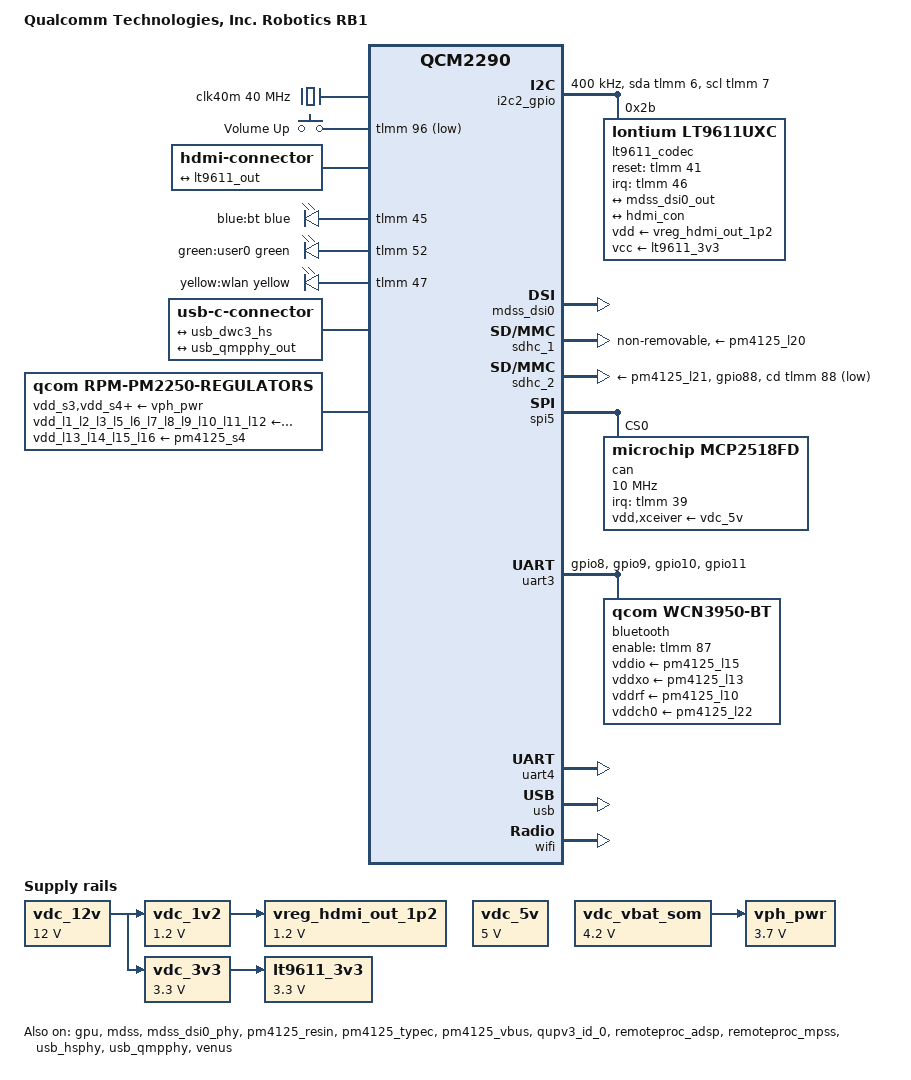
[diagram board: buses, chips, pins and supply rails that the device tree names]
// SPDX-License-Identifier: (GPL-2.0+ OR BSD-3-Clause)
/*
 * Copyright (c) 2023, Linaro Ltd
 */

/dts-v1/;

#include <dt-bindings/gpio/gpio.h>
#include <dt-bindings/leds/common.h>
#include "qcm2290.dtsi"
#include "pm4125.dtsi"

/ {
	model = "Qualcomm Technologies, Inc. Robotics RB1";
	compatible = "qcom,qrb2210-rb1", "qcom,qrb2210", "qcom,qcm2290";

	aliases {
		serial0 = &uart4;
		serial1 = &uart3;
		sdhc1 = &sdhc_1;
		sdhc2 = &sdhc_2;
	};

	chosen {
		stdout-path = "serial0:115200n8";
	};

	clocks {
		clk40m: can-clk {
			compatible = "fixed-clock";
			clock-frequency = <40000000>;
			#clock-cells = <0>;
		};
	};

	gpio-keys {
		compatible = "gpio-keys";
		label = "gpio-keys";

		pinctrl-0 = <&key_volp_n>;
		pinctrl-names = "default";

		key-volume-up {
			label = "Volume Up";
			linux,code = <KEY_VOLUMEUP>;
			gpios = <&tlmm 96 GPIO_ACTIVE_LOW>;
			debounce-interval = <15>;
			linux,can-disable;
			wakeup-source;
		};
	};

	hdmi-connector {
		compatible = "hdmi-connector";
		type = "a";

		port {
			hdmi_con: endpoint {
				remote-endpoint = <&lt9611_out>;
			};
		};
	};

	i2c2_gpio: i2c {
		compatible = "i2c-gpio";

		sda-gpios = <&tlmm 6 (GPIO_ACTIVE_HIGH | GPIO_OPEN_DRAIN)>;
		scl-gpios = <&tlmm 7 (GPIO_ACTIVE_HIGH | GPIO_OPEN_DRAIN)>;
		#address-cells = <1>;
		#size-cells = <0>;

		status = "disabled";
	};

	leds {
		compatible = "gpio-leds";

		led-bt {
			label = "blue:bt";
			function = LED_FUNCTION_BLUETOOTH;
			color = <LED_COLOR_ID_BLUE>;
			gpios = <&tlmm 45 GPIO_ACTIVE_HIGH>;
			linux,default-trigger = "bluetooth-power";
			default-state = "off";
		};

		led-user0 {
			label = "green:user0";
			function = LED_FUNCTION_INDICATOR;
			color = <LED_COLOR_ID_GREEN>;
			gpios = <&tlmm 52 GPIO_ACTIVE_HIGH>;
			linux,default-trigger = "none";
			default-state = "off";
			panic-indicator;
		};

		led-wlan {
			label = "yellow:wlan";
			function = LED_FUNCTION_WLAN;
			color = <LED_COLOR_ID_YELLOW>;
			gpios = <&tlmm 47 GPIO_ACTIVE_HIGH>;
			linux,default-trigger = "phy0tx";
			default-state = "off";
		};
	};

	vreg_hdmi_out_1p2: regulator-hdmi-out-1p2 {
		compatible = "regulator-fixed";
		regulator-name = "VREG_HDMI_OUT_1P2";
		regulator-min-microvolt = <1200000>;
		regulator-max-microvolt = <1200000>;
		vin-supply = <&vdc_1v2>;
		regulator-always-on;
		regulator-boot-on;
	};

	lt9611_3v3: regulator-lt9611-3v3 {
		compatible = "regulator-fixed";
		regulator-name = "LT9611_3V3";
		regulator-min-microvolt = <3300000>;
		regulator-max-microvolt = <3300000>;
		vin-supply = <&vdc_3v3>;
		regulator-always-on;
		regulator-boot-on;
	};

	/* Main barrel jack input */
	vdc_12v: regulator-vdc-12v {
		compatible = "regulator-fixed";
		regulator-name = "DC_12V";
		regulator-min-microvolt = <12000000>;
		regulator-max-microvolt = <12000000>;
		regulator-always-on;
		regulator-boot-on;
	};

	/* 1.2V supply stepped down from the barrel jack input */
	vdc_1v2: regulator-vdc-1v2 {
		compatible = "regulator-fixed";
		regulator-name = "VDC_1V2";
		regulator-min-microvolt = <1200000>;
		regulator-max-microvolt = <1200000>;
		vin-supply = <&vdc_12v>;
		regulator-always-on;
		regulator-boot-on;
	};

	/* 3.3V supply stepped down from the barrel jack input */
	vdc_3v3: regulator-vdc-3v3 {
		compatible = "regulator-fixed";
		regulator-name = "VDC_3V3";
		regulator-min-microvolt = <3300000>;
		regulator-max-microvolt = <3300000>;
		vin-supply = <&vdc_12v>;
		regulator-always-on;
		regulator-boot-on;
	};

	/* 5V supply stepped down from the barrel jack input */
	vdc_5v: regulator-vdc-5v {
		compatible = "regulator-fixed";
		regulator-name = "VDC_5V";

		regulator-min-microvolt = <5000000>;
		regulator-max-microvolt = <5000000>;
		regulator-always-on;
		regulator-boot-on;
	};

	/* "Battery" voltage for the SoM, stepped down from the barrel jack input */
	vdc_vbat_som: regulator-vdc-vbat {
		compatible = "regulator-fixed";
		regulator-name = "VBAT_SOM";
		regulator-min-microvolt = <4200000>;
		regulator-max-microvolt = <4200000>;
		regulator-always-on;
		regulator-boot-on;
	};

	/* PM2250 charger out, supplied by VBAT */
	vph_pwr: regulator-vph-pwr {
		compatible = "regulator-fixed";
		regulator-name = "vph_pwr";
		regulator-min-microvolt = <3700000>;
		regulator-max-microvolt = <3700000>;
		vin-supply = <&vdc_vbat_som>;

		regulator-always-on;
		regulator-boot-on;
	};
};

&cpu_pd0 {
	/delete-property/ power-domains;
};

&cpu_pd1 {
	/delete-property/ power-domains;
};

&cpu_pd2 {
	/delete-property/ power-domains;
};

&cpu_pd3 {
	/delete-property/ power-domains;
};

/delete-node/ &cluster_pd;

&gpi_dma0 {
	status = "okay";
};

&gpu {
	status = "okay";

	zap-shader {
		firmware-name = "qcom/qcm2290/a702_zap.mbn";
	};
};

&i2c2_gpio {
	clock-frequency = <400000>;
	status = "okay";

	lt9611_codec: hdmi-bridge@2b {
		compatible = "lontium,lt9611uxc";
		reg = <0x2b>;
		interrupts-extended = <&tlmm 46 IRQ_TYPE_EDGE_FALLING>;
		reset-gpios = <&tlmm 41 GPIO_ACTIVE_HIGH>;

		vdd-supply = <&vreg_hdmi_out_1p2>;
		vcc-supply = <&lt9611_3v3>;

		pinctrl-0 = <&lt9611_irq_pin &lt9611_rst_pin>;
		pinctrl-names = "default";
		#sound-dai-cells = <1>;

		ports {
			#address-cells = <1>;
			#size-cells = <0>;

			port@0 {
				reg = <0>;

				lt9611_a: endpoint {
					remote-endpoint = <&mdss_dsi0_out>;
				};
			};

			port@2 {
				reg = <2>;

				lt9611_out: endpoint {
					remote-endpoint = <&hdmi_con>;
				};
			};
		};
	};
};

&mdss {
	status = "okay";
};

&mdss_dsi0 {
	vdda-supply = <&pm4125_l5>;
	status = "okay";
};

&mdss_dsi0_out {
	remote-endpoint = <&lt9611_a>;
	data-lanes = <0 1 2 3>;
};

&mdss_dsi0_phy {
	status = "okay";
};

&pm4125_resin {
	linux,code = <KEY_VOLUMEDOWN>;
	status = "okay";
};

&pm4125_typec {
	status = "okay";

	connector {
		compatible = "usb-c-connector";

		power-role = "dual";
		data-role = "dual";
		self-powered;

		typec-power-opmode = "default";
		pd-disable;

		ports {
			#address-cells = <1>;
			#size-cells = <0>;

			port@0 {
				reg = <0>;
				pm4125_hs_in: endpoint {
					remote-endpoint = <&usb_dwc3_hs>;
				};
			};

			port@1 {
				reg = <1>;
				pm4125_ss_in: endpoint {
					remote-endpoint = <&usb_qmpphy_out>;
				};
			};
		};
	};
};

&pm4125_vbus {
	regulator-min-microamp = <500000>;
	regulator-max-microamp = <500000>;
	status = "okay";
};

&qupv3_id_0 {
	status = "okay";
};

&remoteproc_adsp {
	firmware-name = "qcom/qcm2290/adsp.mbn";
	status = "okay";
};

&remoteproc_mpss {
	firmware-name = "qcom/qcm2290/modem.mbn";
	status = "okay";
};

&rpm_requests {
	regulators {
		compatible = "qcom,rpm-pm2250-regulators";
		vdd_s3-supply = <&vph_pwr>;
		vdd_s4-supply = <&vph_pwr>;
		vdd_l1_l2_l3_l5_l6_l7_l8_l9_l10_l11_l12-supply = <&pm4125_s3>;
		vdd_l4_l17_l18_l19_l20_l21_l22-supply = <&vph_pwr>;
		vdd_l13_l14_l15_l16-supply = <&pm4125_s4>;

		/*
		 * S1 - VDD_APC
		 * S2 - VDD_CX
		 */

		pm4125_s3: s3 {
			/* 0.4V-1.6625V -> 1.3V (Power tree requirements) */
			regulator-min-microvolt = <1352000>;
			regulator-max-microvolt = <1352000>;
			regulator-boot-on;
		};

		pm4125_s4: s4 {
			/* 1.2V-2.35V -> 2.05V (Power tree requirements) */
			regulator-min-microvolt = <2072000>;
			regulator-max-microvolt = <2072000>;
			regulator-boot-on;
		};

		/* L1 - VDD_MX */

		pm4125_l2: l2 {
			/* LPDDR4X VDD2 */
			regulator-min-microvolt = <1136000>;
			regulator-max-microvolt = <1136000>;
			regulator-always-on;
			regulator-boot-on;
		};

		pm4125_l3: l3 {
			/* LPDDR4X VDDQ */
			regulator-min-microvolt = <616000>;
			regulator-max-microvolt = <616000>;
			regulator-always-on;
			regulator-boot-on;
		};

		pm4125_l4: l4 {
			/* max = 3.05V -> max = 2.7 to disable 3V signaling (SDHCI2) */
			regulator-min-microvolt = <1800000>;
			regulator-max-microvolt = <2700000>;
			regulator-allow-set-load;
		};

		pm4125_l5: l5 {
			/* CSI/DSI */
			regulator-min-microvolt = <1232000>;
			regulator-max-microvolt = <1232000>;
			regulator-allow-set-load;
			regulator-boot-on;
		};

		pm4125_l6: l6 {
			/* DRAM PLL */
			regulator-min-microvolt = <928000>;
			regulator-max-microvolt = <928000>;
			regulator-always-on;
			regulator-boot-on;
		};

		pm4125_l7: l7 {
			/* Wi-Fi CX/MX */
			regulator-min-microvolt = <664000>;
			regulator-max-microvolt = <664000>;
		};

		/*
		 * L8 - VDD_LPI_CX
		 * L9 - VDD_LPI_MX
		 */

		pm4125_l10: l10 {
			/* Wi-Fi RFA */
			regulator-min-microvolt = <1304000>;
			regulator-max-microvolt = <1304000>;
		};

		pm4125_l11: l11 {
			/* GPS RF1 */
			regulator-min-microvolt = <1000000>;
			regulator-max-microvolt = <1000000>;
			regulator-boot-on;
		};

		pm4125_l12: l12 {
			/* USB PHYs */
			regulator-min-microvolt = <928000>;
			regulator-max-microvolt = <928000>;
			regulator-allow-set-load;
			regulator-boot-on;
		};

		pm4125_l13: l13 {
			/* USB/QFPROM/PLLs */
			regulator-min-microvolt = <1800000>;
			regulator-max-microvolt = <1800000>;
			regulator-allow-set-load;
			regulator-boot-on;
		};

		pm4125_l14: l14 {
			/* SDHCI1 VQMMC */
			regulator-min-microvolt = <1800000>;
			regulator-max-microvolt = <1800000>;
			regulator-allow-set-load;
			/* Broken hardware, never turn it off! */
			regulator-always-on;
		};

		pm4125_l15: l15 {
			/* WCD/DSI/BT VDDIO */
			regulator-min-microvolt = <1800000>;
			regulator-max-microvolt = <1800000>;
			regulator-allow-set-load;
			regulator-always-on;
			regulator-boot-on;
		};

		pm4125_l16: l16 {
			/* GPS RF2 */
			regulator-min-microvolt = <1800000>;
			regulator-max-microvolt = <1800000>;
			regulator-boot-on;
		};

		pm4125_l17: l17 {
			regulator-min-microvolt = <3000000>;
			regulator-max-microvolt = <3000000>;
		};

		pm4125_l18: l18 {
			/* VDD_PXn */
			regulator-min-microvolt = <1800000>;
			regulator-max-microvolt = <1800000>;
		};

		pm4125_l19: l19 {
			/* VDD_PXn */
			regulator-min-microvolt = <1800000>;
			regulator-max-microvolt = <1800000>;
		};

		pm4125_l20: l20 {
			/* SDHCI1 VMMC */
			regulator-min-microvolt = <2400000>;
			regulator-max-microvolt = <3600000>;
			regulator-allow-set-load;
		};

		pm4125_l21: l21 {
			/* SDHCI2 VMMC */
			regulator-min-microvolt = <2960000>;
			regulator-max-microvolt = <3300000>;
			regulator-allow-set-load;
			regulator-boot-on;
		};

		pm4125_l22: l22 {
			/* Wi-Fi */
			regulator-min-microvolt = <3312000>;
			regulator-max-microvolt = <3312000>;
		};
	};
};

&sdhc_1 {
	vmmc-supply = <&pm4125_l20>;
	vqmmc-supply = <&pm4125_l14>;
	pinctrl-0 = <&sdc1_state_on>;
	pinctrl-1 = <&sdc1_state_off>;
	pinctrl-names = "default", "sleep";
	non-removable;
	supports-cqe;
	no-sdio;
	no-sd;
	status = "okay";
};

&sdhc_2 {
	vmmc-supply = <&pm4125_l21>;
	vqmmc-supply = <&pm4125_l4>;
	cd-gpios = <&tlmm 88 GPIO_ACTIVE_LOW>;
	pinctrl-0 = <&sdc2_state_on &sd_det_in_on>;
	pinctrl-1 = <&sdc2_state_off &sd_det_in_off>;
	pinctrl-names = "default", "sleep";
	no-sdio;
	no-mmc;
	status = "okay";
};

&spi5 {
	status = "okay";

	can@0 {
		compatible = "microchip,mcp2518fd";
		reg = <0>;
		interrupts-extended = <&tlmm 39 IRQ_TYPE_LEVEL_LOW>;
		clocks = <&clk40m>;
		spi-max-frequency = <10000000>;
		vdd-supply = <&vdc_5v>;
		xceiver-supply = <&vdc_5v>;
	};
};

&tlmm {
	uart3_default: uart3-default-state {
		cts-pins {
			pins = "gpio8";
			function = "qup3";
			drive-strength = <2>;
			bias-bus-hold;
		};

		rts-pins {
			pins = "gpio9";
			function = "qup3";
			drive-strength = <2>;
			bias-disable;
		};

		tx-pins {
			pins = "gpio10";
			function = "qup3";
			drive-strength = <2>;
			bias-disable;
		};

		rx-pins {
			pins = "gpio11";
			function = "qup3";
			drive-strength = <2>;
			bias-pull-up;
		};
	};

	uart3_sleep: uart3-sleep-state {
		cts-pins {
			pins = "gpio8";
			function = "gpio";
			drive-strength = <2>;
			bias-bus-hold;
		};

		rts-pins {
			pins = "gpio9";
			function = "gpio";
			drive-strength = <2>;
			bias-pull-down;
		};

		tx-pins {
			pins = "gpio10";
			function = "gpio";
			drive-strength = <2>;
			bias-pull-up;
		};

		rx-pins {
			pins = "gpio11";
			function = "gpio";
			drive-strength = <2>;
			bias-pull-up;
		};
	};

	lt9611_rst_pin: lt9611-rst-state {
		pins = "gpio41";
		function = "gpio";
		input-disable;
		output-high;
	};

	lt9611_irq_pin: lt9611-irq-state {
		pins = "gpio46";
		function = "gpio";
		bias-disable;
	};

	sd_det_in_on: sd-det-in-on-state {
		pins = "gpio88";
		function = "gpio";
		drive-strength = <2>;
		bias-pull-up;
	};

	sd_det_in_off: sd-det-in-off-state {
		pins = "gpio88";
		function = "gpio";
		drive-strength = <2>;
		bias-disable;
	};

	key_volp_n: key-volp-n-state {
		pins = "gpio96";
		function = "gpio";
		bias-pull-up;
		output-disable;
	};
};

&uart3 {
	/delete-property/ interrupts;
	interrupts-extended = <&intc GIC_SPI 330 IRQ_TYPE_LEVEL_HIGH>,
			      <&tlmm 11 IRQ_TYPE_LEVEL_HIGH>;
	pinctrl-0 = <&uart3_default>;
	pinctrl-1 = <&uart3_sleep>;
	pinctrl-names = "default", "sleep";

	status = "okay";

	bluetooth {
		compatible = "qcom,wcn3950-bt";

		vddio-supply = <&pm4125_l15>;
		vddxo-supply = <&pm4125_l13>;
		vddrf-supply = <&pm4125_l10>;
		vddch0-supply = <&pm4125_l22>;
		enable-gpios = <&tlmm 87 GPIO_ACTIVE_HIGH>;
		max-speed = <3200000>;
	};
};

/* UART connected to the Micro-USB port via a FTDI chip */
&uart4 {
	compatible = "qcom,geni-debug-uart";
	status = "okay";
};

&usb {
	status = "okay";
};

&usb_dwc3_hs {
	remote-endpoint = <&pm4125_hs_in>;
};

&usb_hsphy {
	vdd-supply = <&pm4125_l12>;
	vdda-pll-supply = <&pm4125_l13>;
	vdda-phy-dpdm-supply = <&pm4125_l21>;
	status = "okay";
};

&usb_qmpphy {
	vdda-phy-supply = <&pm4125_l12>;
	vdda-pll-supply = <&pm4125_l13>;
	status = "okay";
};

&usb_qmpphy_out {
	remote-endpoint = <&pm4125_ss_in>;
};

&venus {
	status = "okay";
};

&wifi {
	vdd-0.8-cx-mx-supply = <&pm4125_l7>;
	vdd-1.8-xo-supply = <&pm4125_l13>;
	vdd-1.3-rfa-supply = <&pm4125_l10>;
	vdd-3.3-ch0-supply = <&pm4125_l22>;
	qcom,calibration-variant = "Thundercomm_RB1";
	firmware-name = "qcm2290";
	status = "okay";
};

&xo_board {
	clock-frequency = <38400000>;
};
